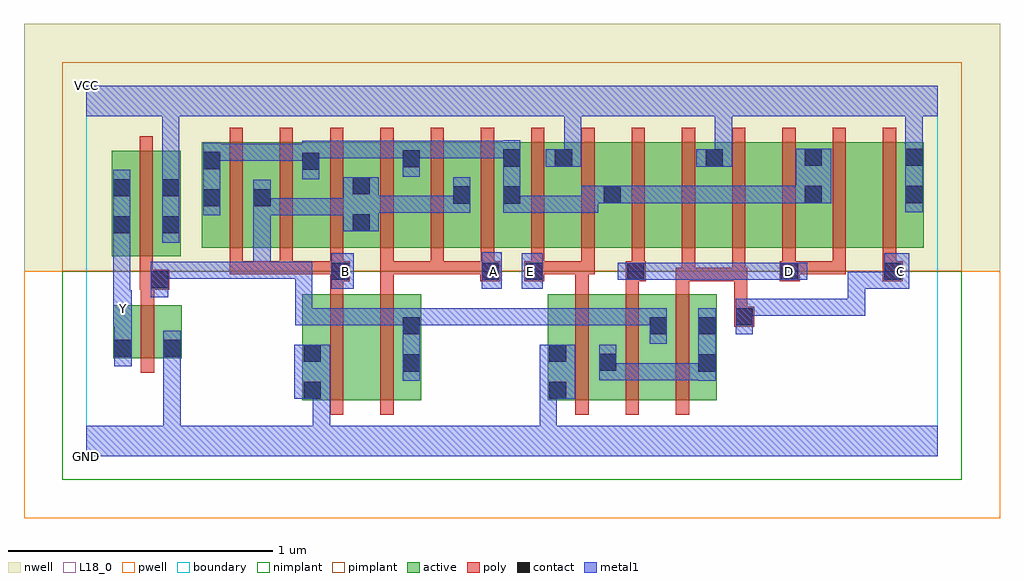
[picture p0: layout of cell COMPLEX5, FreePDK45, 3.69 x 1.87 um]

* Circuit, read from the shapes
.subckt COMPLEX5 A B C D E GND VCC Y
M1 GND n1 Y VSUBS nfet w=0.2u l=0.05u
M2 n2 B GND VSUBS nfet w=0.4u l=0.05u
M3 n1 A n2 VSUBS nfet w=0.4u l=0.05u
M4 n3 E GND VSUBS nfet w=0.4u l=0.05u
M5 n1 D n3 VSUBS nfet w=0.4u l=0.05u
M6 n3 C n1 VSUBS nfet w=0.4u l=0.05u
M7 VCC n1 Y n4 pfet w=0.4u l=0.05u
M8 n1 B n5 n4 pfet w=0.4u l=0.05u m=3
M9 n5 A n1 n4 pfet w=0.4u l=0.05u m=3
M10 VCC E n5 n4 pfet w=0.4u l=0.05u m=2
M11 n6 D n5 n4 pfet w=0.4u l=0.05u
M12 VCC C n6 n4 pfet w=0.4u l=0.05u
M13 n7 C VCC n4 pfet w=0.4u l=0.05u
M14 n5 D n7 n4 pfet w=0.4u l=0.05u
M15 n8 D n5 n4 pfet w=0.4u l=0.05u
M16 VCC C n8 n4 pfet w=0.4u l=0.05u
.ends

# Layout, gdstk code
import gdstk
lib = gdstk.Library(unit=1e-6, precision=1e-09)
def R(c, l, rs):  # rectangles x0, y0, x1, y1
    for r in rs: c.add(gdstk.rectangle(r[:2], r[2:], *l))
def A(c, l, x, y, w, h, nx, ny, dx, dy):  # array of equal rectangles
    R(c, l, [(x+i*dx, y+j*dy, x+i*dx+w, y+j*dy+h) for i in range(nx) for j in range(ny)])
active = (1, 0)
pwell = (2, 0)
nwell = (3, 0)
nimplant = (4, 0)
pimplant = (5, 0)
poly = (9, 0)
contact = (10, 0)
metal1 = (11, 0)
L18_0 = (18, 0)
boundary = (235, 0)

complex5 = lib.new_cell('COMPLEX5')
A(complex5, active, 0.812, 0.787, 0.265, 0.4, 4, 1, 0.19, 0)
A(complex5, active, 1.192, 0.907, 0.075, 0.28, 3, 1, 0.38, 0)
R(complex5, active, [(0.817,0.212,1.042,0.612), (0.817,0.212,0.892,0.597), (1.042,0.212,1.267,0.612), (1.745,0.212,2.01,0.612), (1.745,0.212,1.82,0.612), (1.935,0.212,2.2,0.612), (2.125,0.212,2.385,0.612), (1.192,0.245,1.267,0.612), (1.935,0.245,2.01,0.492), (2.125,0.245,2.2,0.53), (2.31,0.245,2.385,0.612), (0.102,0.37,0.177,0.57), (0.102,0.37,0.362,0.57), (0.287,0.37,0.362,0.57), (0.097,0.755,0.357,1.155), (0.097,0.755,0.172,1.155), (0.282,0.755,0.357,1.155), (0.437,0.787,0.702,1.187), (0.437,0.787,0.512,1.155), (0.627,0.787,0.887,1.187), (1.572,0.787,1.842,1.187), (1.767,0.787,2.027,1.187), (1.952,0.787,2.182,1.187), (2.182,0.787,2.412,1.187), (2.337,0.787,2.562,1.187), (2.562,0.787,2.787,1.187), (2.712,0.787,2.942,1.187), (2.942,0.787,3.167,1.187), (3.092,0.787,3.167,1.167), (0.812,0.802,0.887,1.155), (1.002,0.845,1.077,1.07), (0.627,0.907,0.702,1.07), (1.382,0.907,1.457,1.07), (1.767,0.907,1.842,1.165), (2.337,0.907,2.412,1.187), (2.712,0.907,2.787,1.187)])
R(complex5, pwell, [(-0.235,-0.235,3.455,0.7)])
R(complex5, nwell, [(-0.235,0.7,3.455,1.635)])
R(complex5, nimplant, [(-0.09,-0.09,3.31,0.7)])
R(complex5, pimplant, [(-0.09,0.7,3.31,1.49)])
A(complex5, poly, 1.85, 0.157, 0.05, 0.51, 3, 1, 0.19, 0)
A(complex5, poly, 0.542, 0.687, 0.05, 0.095, 9, 1, 0.19, 0)
A(complex5, poly, 0.542, 0.687, 0.05, 0.05, 3, 1, 0.19, 0)
A(complex5, poly, 0.922, 0.687, 0.05, 0.05, 3, 1, 0.19, 0)
A(complex5, poly, 2.632, 0.687, 0.05, 0.095, 3, 1, 0.19, 0)
A(complex5, poly, 0.542, 0.732, 0.05, 0.51, 14, 1, 0.19, 0)
R(complex5, poly, [(0.922,0.157,0.972,0.667), (1.112,0.157,1.162,0.667), (0.207,0.315,0.257,0.625), (2.45,0.49,2.525,0.565), (2.45,0.515,2.5,0.712), (0.207,0.575,0.257,0.68), (0.922,0.617,0.972,0.712), (1.112,0.617,1.162,0.737), (1.85,0.617,1.9,0.737), (2.04,0.617,2.09,0.712), (2.23,0.617,2.28,0.712), (0.202,0.63,0.315,0.705), (0.202,0.655,0.252,0.75), (0.922,0.662,0.997,0.737), (1.49,0.662,1.565,0.737), (1.657,0.662,1.732,0.737), (2.04,0.662,2.115,0.737), (2.23,0.662,2.302,0.712), (2.252,0.662,2.302,0.782), (2.252,0.662,2.492,0.712), (2.442,0.662,2.492,0.712), (2.442,0.662,2.492,0.712), (2.442,0.662,2.492,0.712), (2.442,0.662,2.492,0.712), (2.442,0.662,2.492,0.782), (2.442,0.662,2.5,0.712), (2.622,0.662,2.697,0.737), (3.012,0.662,3.087,0.737), (0.542,0.687,0.592,0.737), (0.542,0.687,0.592,0.737), (0.542,0.687,0.782,0.737), (0.732,0.687,0.972,0.737), (1.112,0.687,1.352,0.737), (1.302,0.687,1.352,0.737), (1.302,0.687,1.352,0.737), (1.302,0.687,1.54,0.737), (1.49,0.687,1.54,0.737), (1.49,0.687,1.54,0.737), (1.682,0.687,1.9,0.737), (1.85,0.687,1.9,0.737), (1.85,0.687,1.9,0.737), (1.85,0.687,1.922,0.737), (2.647,0.687,2.872,0.737), (2.822,0.687,2.872,0.737), (2.822,0.687,2.872,0.737), (2.822,0.687,2.872,0.737), (0.202,0.7,0.252,1.21)])
R(complex5, contact, [(0.822,0.217,0.887,0.282), (1.75,0.217,1.815,0.282), (1.197,0.32,1.262,0.385), (2.315,0.32,2.38,0.385), (1.94,0.322,2.005,0.387), (0.822,0.357,0.887,0.422), (1.75,0.357,1.815,0.422), (0.107,0.375,0.172,0.44), (0.292,0.375,0.357,0.44), (1.197,0.46,1.262,0.525), (2.13,0.46,2.195,0.525), (2.315,0.46,2.38,0.525), (2.455,0.495,2.52,0.56), (0.245,0.635,0.31,0.7), (0.927,0.667,0.992,0.732), (1.495,0.667,1.56,0.732), (1.662,0.667,1.727,0.732), (2.045,0.667,2.11,0.732), (2.627,0.667,2.692,0.732), (3.017,0.667,3.082,0.732), (0.102,0.842,0.167,0.907), (0.287,0.842,0.352,0.907), (1.007,0.85,1.072,0.915), (0.442,0.945,0.507,1.01), (0.632,0.945,0.697,1.01), (1.387,0.955,1.452,1.02), (1.577,0.955,1.642,1.02), (1.957,0.957,2.022,1.022), (2.717,0.957,2.782,1.022), (3.097,0.957,3.162,1.022), (0.102,0.982,0.167,1.047), (0.287,0.982,0.352,1.047), (1.007,0.99,1.072,1.055), (0.817,1.082,0.882,1.147), (0.442,1.085,0.507,1.15), (1.197,1.092,1.262,1.157), (1.577,1.095,1.642,1.16), (1.772,1.095,1.837,1.16), (2.342,1.095,2.407,1.16), (2.717,1.097,2.782,1.162), (3.097,1.097,3.162,1.162)])
R(complex5, metal1, [(0,0,3.22,0.115), (0.292,0.05,0.357,0.115), (0.292,0.05,0.357,0.115), (0.292,0.05,0.357,0.115), (0.292,0.05,0.357,0.115), (0.292,0.05,0.357,0.115), (0.292,0.05,0.357,0.115), (0.292,0.05,0.357,0.405), (0.857,0.05,0.922,0.115), (0.857,0.05,0.922,0.115), (0.857,0.05,0.922,0.282), (1.715,0.05,1.78,0.282), (0.787,0.217,0.922,0.422), (1.715,0.217,1.78,0.282), (1.715,0.217,1.78,0.282), (1.715,0.217,1.85,0.422), (1.197,0.285,1.262,0.56), (2.315,0.285,2.38,0.56), (1.94,0.287,2.005,0.422), (1.94,0.287,2.195,0.352), (2.13,0.287,2.195,0.352), (2.13,0.287,2.195,0.352), (2.13,0.287,2.195,0.352), (2.13,0.287,2.38,0.352), (2.315,0.287,2.38,0.352), (2.315,0.287,2.38,0.352), (0.107,0.34,0.172,0.475), (0.292,0.34,0.357,0.475), (0.107,0.41,0.172,0.557), (2.13,0.425,2.195,0.56), (2.455,0.46,2.52,0.595), (0.102,0.492,0.172,0.627), (0.79,0.495,0.855,0.56), (0.79,0.495,0.855,0.56), (0.79,0.495,0.855,0.56), (0.79,0.495,1.02,0.56), (0.79,0.495,0.855,0.735), (0.955,0.495,1.02,0.56), (0.955,0.495,1.02,0.56), (0.955,0.495,1.02,0.56), (0.955,0.495,1.262,0.56), (1.197,0.495,1.262,0.56), (1.197,0.495,1.262,0.56), (1.197,0.495,1.452,0.56), (1.387,0.495,1.452,0.56), (1.387,0.495,1.452,0.56), (1.387,0.495,1.452,0.56), (1.387,0.495,1.642,0.56), (1.577,0.495,1.642,0.56), (1.577,0.495,1.642,0.56), (1.577,0.495,1.642,0.56), (1.577,0.495,1.8,0.56), (1.735,0.495,1.937,0.56), (1.735,0.495,1.8,0.56), (1.872,0.495,1.937,0.56), (1.872,0.495,1.937,0.56), (1.872,0.495,1.937,0.56), (1.872,0.495,2.195,0.56), (2.13,0.495,2.195,0.56), (2.13,0.495,2.195,0.56), (2.455,0.53,2.52,0.595), (2.455,0.53,2.52,0.595), (2.455,0.53,2.52,0.595), (2.455,0.53,2.52,0.595), (2.455,0.53,2.807,0.595), (2.742,0.53,2.807,0.595), (2.742,0.53,2.807,0.595), (2.742,0.53,2.807,0.595), (2.742,0.53,2.945,0.595), (2.88,0.53,2.945,0.697), (2.88,0.53,2.945,0.595), (2.88,0.53,2.945,0.595), (2.88,0.53,2.945,0.595), (0.102,0.562,0.167,0.872), (0.245,0.6,0.31,0.735), (0.927,0.632,1.012,0.767), (1.495,0.632,1.572,0.77), (1.647,0.632,1.727,0.767), (2.88,0.632,3.082,0.697), (2.88,0.632,2.945,0.697), (3.017,0.632,3.112,0.767), (2.01,0.667,2.145,0.732), (2.08,0.667,2.195,0.732), (2.13,0.667,2.332,0.732), (2.13,0.667,2.195,0.732), (2.267,0.667,2.332,0.732), (2.267,0.667,2.332,0.732), (2.267,0.667,2.332,0.732), (2.267,0.667,2.52,0.732), (2.455,0.667,2.657,0.732), (2.455,0.667,2.52,0.732), (2.455,0.667,2.52,0.732), (2.455,0.667,2.52,0.732), (2.592,0.667,2.727,0.732), (0.245,0.67,0.37,0.735), (0.305,0.67,0.507,0.735), (0.305,0.67,0.37,0.735), (0.442,0.67,0.507,0.735), (0.442,0.67,0.507,0.735), (0.442,0.67,0.507,0.735), (0.442,0.67,0.697,0.735), (0.632,0.67,0.697,0.735), (0.632,0.67,0.697,0.735), (0.632,0.67,0.697,0.735), (0.632,0.67,0.855,0.735), (0.632,0.67,0.697,0.975), (0.79,0.67,0.855,0.735), (0.102,0.807,0.167,1.082), (0.287,0.807,0.352,1.082), (0.972,0.85,1.107,1.055), (0.442,0.91,0.507,1.185), (0.632,0.91,0.697,0.975), (0.632,0.91,0.697,0.975), (0.632,0.91,0.697,1.045), (0.632,0.91,0.852,0.975), (0.787,0.91,0.852,0.975), (0.787,0.91,0.852,0.975), (0.787,0.91,0.852,0.975), (0.787,0.91,1.037,0.975), (1.042,0.92,1.107,0.985), (1.042,0.92,1.107,0.985), (1.042,0.92,1.315,0.985), (1.25,0.92,1.452,0.985), (1.25,0.92,1.315,0.985), (1.25,0.92,1.315,0.985), (1.25,0.92,1.315,0.985), (1.387,0.92,1.452,1.055), (1.577,0.92,1.642,1.195), (1.577,0.92,1.642,0.985), (1.577,0.92,1.642,0.985), (1.577,0.92,1.8,0.985), (1.735,0.92,1.937,0.985), (1.735,0.92,1.8,0.985), (1.735,0.92,1.8,0.985), (1.735,0.92,1.8,0.985), (1.872,0.92,1.937,1.022), (3.097,0.922,3.162,1.197), (1.872,0.957,1.987,1.022), (1.922,0.957,2.057,1.022), (1.992,0.957,2.195,1.022), (2.13,0.957,2.332,1.022), (2.13,0.957,2.195,1.022), (2.13,0.957,2.195,1.022), (2.13,0.957,2.195,1.022), (2.267,0.957,2.332,1.022), (2.267,0.957,2.332,1.022), (2.267,0.957,2.332,1.022), (2.267,0.957,2.52,1.022), (2.455,0.957,2.52,1.022), (2.455,0.957,2.52,1.022), (2.455,0.957,2.52,1.022), (2.455,0.957,2.747,1.022), (2.682,0.957,2.747,1.022), (2.682,0.957,2.747,1.022), (2.682,0.957,2.817,1.162), (0.287,1.017,0.352,1.35), (0.817,1.047,0.882,1.182), (1.197,1.057,1.262,1.192), (1.737,1.095,1.872,1.16), (1.807,1.095,1.872,1.35), (2.307,1.095,2.442,1.16), (2.377,1.095,2.442,1.35), (0.442,1.117,0.507,1.182), (0.442,1.117,0.507,1.182), (0.442,1.117,0.645,1.182), (0.58,1.117,0.645,1.182), (0.58,1.117,0.645,1.182), (0.58,1.117,0.645,1.182), (0.58,1.117,0.882,1.182), (0.817,1.117,0.882,1.182), (0.817,1.117,0.882,1.192), (0.817,1.127,1.125,1.192), (1.06,1.127,1.262,1.192), (1.06,1.127,1.125,1.192), (1.06,1.127,1.125,1.192), (1.06,1.127,1.125,1.192), (1.197,1.127,1.262,1.192), (1.197,1.127,1.262,1.192), (1.197,1.127,1.505,1.192), (1.44,1.127,1.642,1.192), (1.44,1.127,1.505,1.192), (1.44,1.127,1.505,1.192), (1.44,1.127,1.505,1.192), (3.097,1.132,3.162,1.35), (0,1.285,3.22,1.4)])
R(complex5, L18_0, [(0,0,3.22,0.115), (0.292,0.05,0.357,0.115), (0.292,0.05,0.357,0.115), (0.292,0.05,0.357,0.115), (0.292,0.05,0.357,0.115), (0.292,0.05,0.357,0.115), (0.292,0.05,0.357,0.115), (0.292,0.05,0.357,0.405), (0.857,0.05,0.922,0.115), (0.857,0.05,0.922,0.115), (0.857,0.05,0.922,0.282), (1.715,0.05,1.78,0.282), (0.787,0.217,0.922,0.422), (1.715,0.217,1.78,0.282), (1.715,0.217,1.78,0.282), (1.715,0.217,1.85,0.422), (0.107,0.34,0.172,0.475), (0.292,0.34,0.357,0.475), (0.107,0.41,0.172,0.557), (2.455,0.46,2.52,0.595), (0.102,0.492,0.172,0.627), (0.107,0.527,0.172,0.592), (2.455,0.53,2.52,0.595), (2.455,0.53,2.52,0.595), (2.455,0.53,2.52,0.595), (2.455,0.53,2.52,0.595), (2.455,0.53,2.807,0.595), (2.742,0.53,2.807,0.595), (2.742,0.53,2.807,0.595), (2.742,0.53,2.807,0.595), (2.742,0.53,2.945,0.595), (2.88,0.53,2.945,0.595), (2.88,0.53,2.945,0.595), (2.88,0.53,2.945,0.595), (2.88,0.53,2.945,0.697), (0.102,0.562,0.167,0.872), (0.927,0.632,1.012,0.767), (1.495,0.632,1.572,0.77), (1.647,0.632,1.727,0.767), (2.88,0.632,2.945,0.697), (2.88,0.632,3.082,0.697), (3.017,0.632,3.112,0.767), (0.947,0.667,1.012,0.732), (1.507,0.667,1.572,0.732), (1.647,0.667,1.712,0.732), (2.01,0.667,2.145,0.732), (2.08,0.667,2.195,0.732), (2.13,0.667,2.195,0.732), (2.13,0.667,2.332,0.732), (2.267,0.667,2.332,0.732), (2.267,0.667,2.332,0.732), (2.267,0.667,2.332,0.732), (2.267,0.667,2.52,0.732), (2.455,0.667,2.52,0.732), (2.455,0.667,2.52,0.732), (2.455,0.667,2.52,0.732), (2.455,0.667,2.657,0.732), (2.592,0.667,2.727,0.732), (2.627,0.667,2.692,0.732), (3.047,0.667,3.112,0.732), (0.102,0.807,0.167,1.082), (0.287,0.807,0.352,1.082), (3.097,0.922,3.162,1.197), (0.287,1.017,0.352,1.35), (1.737,1.095,1.872,1.16), (1.807,1.095,1.872,1.35), (2.307,1.095,2.442,1.16), (2.377,1.095,2.442,1.35), (3.097,1.132,3.162,1.35), (0,1.285,3.22,1.4)])
R(complex5, boundary, [(0,0,3.22,1.4)])
complex5.add(gdstk.Label('A', (1.54,0.7), layer=11, texttype=0))
complex5.add(gdstk.Label('B', (0.98,0.7), layer=11, texttype=0))
complex5.add(gdstk.Label('C', (3.08,0.7), layer=11, texttype=0))
complex5.add(gdstk.Label('D', (2.66,0.7), layer=11, texttype=0))
complex5.add(gdstk.Label('E', (1.68,0.7), layer=11, texttype=0))
complex5.add(gdstk.Label('Y', (0.14,0.56), layer=11, texttype=0))
complex5.add(gdstk.Label('VCC', (0,1.4), layer=11, texttype=0))
complex5.add(gdstk.Label('GND', (0,0), layer=11, texttype=0))

lib.write_gds('COMPLEX5.gds')
